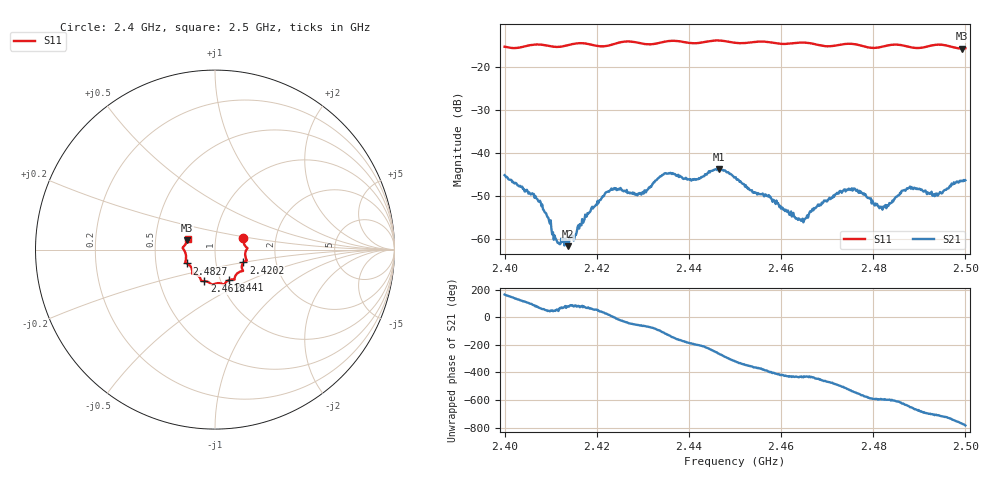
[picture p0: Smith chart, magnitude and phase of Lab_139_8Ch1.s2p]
# Hz S RI R 50
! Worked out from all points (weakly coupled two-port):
!   601 points, 2.4 GHz to 2.5 GHz, reference 50 ohm
!   highest |S21| = -43.73 dB at 2.4465 GHz (marker M1); lowest = -61.6 dB at 2.4137 GHz (marker M2)
!   lowest |S11| = -15.8 dB at 2.4993 GHz (marker M3), VSWR 1.39, Z = 36.5 + j3.85 ohm
!   |S11| at or under -10 dB: start of sweep to end of sweep
!   S12 and S22 are empty: the file has one direction only
!   S11 on the Smith chart (normalised r, x): 2.4 GHz: 1.36, +0.18; 2.4202 GHz: 1.36, -0.20; 2.441 GHz: 1.10, -0.39; 2.4618 GHz: 0.84, -0.30; 2.4827 GHz: 0.72, -0.11; 2.5 GHz: 0.73, +0.09
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2.4e9  0.1585 0.063  -0.00532 0.0015  0 0  0 0
2.407167e9  0.1809 0.00838  0.000701 0.00279  0 0  0 0
2.4115e9  0.1682 -0.022  0.000546 0.000729  0 0  0 0
2.413667e9  0.1714 -0.046  0.000219 0.000801  0 0  0 0
2.416667e9  0.1773 -0.0611  0.000272 0.00142  0 0  0 0
2.420167e9  0.1586 -0.0713  0.00165 0.00223  0 0  0 0
2.423667e9  0.1502 -0.104  0.0038 8.67e-05  0 0  0 0
2.429667e9  0.1396 -0.1231  0.00172 -0.0028  0 0  0 0
2.433333e9  0.1115 -0.1508  -0.000333 -0.00507  0 0  0 0
2.441e9  0.0786 -0.1698  -0.00473 0.00119  0 0  0 0
2.4465e9  0.0488 -0.1952  -0.00059 0.00648  0 0  0 0
2.45e9  0.0285 -0.1873  0.00401 0.00333  0 0  0 0
2.461833e9  -0.0593 -0.1755  0.000738 -0.00177  0 0  0 0
2.464667e9  -0.0758 -0.1747  0.000555 -0.00164  0 0  0 0
2.466667e9  -0.0788 -0.1682  0.000593 -0.00207  0 0  0 0
2.474833e9  -0.1271 -0.1338  -0.00373 -0.000799  0 0  0 0
2.482667e9  -0.1563 -0.0771  -0.00134 0.0021  0 0  0 0
2.483333e9  -0.1605 -0.075  -0.00127 0.00211  0 0  0 0
2.487833e9  -0.1616 -0.0513  0.00126 0.00377  0 0  0 0
2.4935e9  -0.1792 0.00705  0.0033 0.000724  0 0  0 0
2.499333e9  -0.1541 0.0514  0.00285 -0.00381  0 0  0 0
2.5e9  -0.1522 0.0608  0.00203 -0.00438  0 0  0 0
